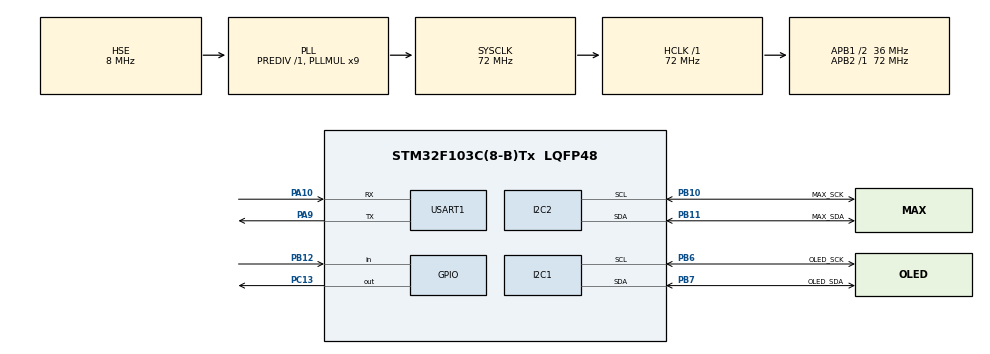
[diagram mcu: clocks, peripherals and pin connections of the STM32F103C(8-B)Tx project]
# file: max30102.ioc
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I2C1.DutyCycle=I2C_DUTYCYCLE_16_9
I2C1.I2C_Mode=I2C_Fast
I2C2.DutyCycle=I2C_DUTYCYCLE_16_9
I2C2.I2C_Mode=I2C_Fast
Mcu.Family=STM32F1
Mcu.Name=STM32F103C(8-B)Tx
Mcu.Package=LQFP48
NVIC.I2C1_EV_IRQn=true\:1\:0\:true\:true\:true\:1\:true\:true\:true
NVIC.PriorityGroup=NVIC_PRIORITYGROUP_4
PA0-WKUP.Mode=SYS_WakeUp0
PA0-WKUP.Signal=SYS_WKUP
PA10.Mode=Asynchronous
PA10.Signal=USART1_RX
PA13.Mode=Serial_Wire
PA13.Signal=SYS_JTMS-SWDIO
PA14.Mode=Serial_Wire
PA14.Signal=SYS_JTCK-SWCLK
PA9.Mode=Asynchronous
PA9.Signal=USART1_TX
PB10.GPIO_Label=MAX_SCK
PB10.GPIO_Pu=GPIO_PULLUP
PB10.Mode=I2C
PB10.Signal=I2C2_SCL
PB11.GPIO_Label=MAX_SDA
PB11.GPIO_Pu=GPIO_PULLUP
PB11.Mode=I2C
PB11.Signal=I2C2_SDA
PB12.GPIO_PuPd=GPIO_PULLUP
PB12.Signal=GPIO_Input
PB6.GPIO_Label=OLED_SCK
PB6.GPIO_Pu=GPIO_PULLUP
PB6.Mode=I2C
PB6.Signal=I2C1_SCL
PB7.GPIO_Label=OLED_SDA
PB7.GPIO_Pu=GPIO_PULLUP
PB7.Mode=I2C
PB7.Signal=I2C1_SDA
PC13-TAMPER-RTC.GPIO_ModeDefaultOutputPP=GPIO_MODE_OUTPUT_PP
PC13-TAMPER-RTC.GPIO_Speed=GPIO_SPEED_FREQ_HIGH
PC13-TAMPER-RTC.PinState=GPIO_PIN_SET
PC13-TAMPER-RTC.Signal=GPIO_Output
PC14-OSC32_IN.Mode=LSE-External-Oscillator
PC14-OSC32_IN.Signal=RCC_OSC32_IN
PC15-OSC32_OUT.Mode=LSE-External-Oscillator
PC15-OSC32_OUT.Signal=RCC_OSC32_OUT
PD0-OSC_IN.Mode=HSE-External-Oscillator
PD0-OSC_IN.Signal=RCC_OSC_IN
PD1-OSC_OUT.Mode=HSE-External-Oscillator
PD1-OSC_OUT.Signal=RCC_OSC_OUT
ProjectManager.HeapSize=0x200
ProjectManager.StackSize=0x400
ProjectManager.TargetToolchain=MDK-ARM V5.32
RCC.AHBFreq_Value=72000000
RCC.APB1CLKDivider=RCC_HCLK_DIV2
RCC.APB1Freq_Value=36000000
RCC.APB1TimFreq_Value=72000000
RCC.APB2Freq_Value=72000000
RCC.APB2TimFreq_Value=72000000
RCC.HCLKFreq_Value=72000000
RCC.PLLMUL=RCC_PLL_MUL9
RCC.PLLSourceVirtual=RCC_PLLSOURCE_HSE
RCC.SYSCLKFreq_VALUE=72000000
RCC.SYSCLKSource=RCC_SYSCLKSOURCE_PLLCLK
RCC.USBFreq_Value=72000000
USART1.VirtualMode=VM_ASYNC
board=max30102

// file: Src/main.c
/* USER CODE BEGIN Header */
/**
  ******************************************************************************
  * @file           : main.c
  * @brief          : Main program body
  ******************************************************************************
  * @attention
  *
  * Copyright (c) 2023 STMicroelectronics.
  * All rights reserved.
  *
  * This software is licensed under terms that can be found in the LICENSE file
  * in the root directory of this software component.
  * If no LICENSE file comes with this software, it is provided AS-IS.
  *
  ******************************************************************************
  */
/* USER CODE END Header */
#include "main.h"

/* USER CODE BEGIN Includes */
#include "oled.h"
#include "max30102.h"
/* USER CODE END Includes */

I2C_HandleTypeDef hi2c1;
I2C_HandleTypeDef hi2c2;

UART_HandleTypeDef huart1;

/* USER CODE BEGIN PV */
/* Private variables ---------------------------------------------------------*/

/* USER CODE END PV */

void SystemClock_Config(void);
static void MX_GPIO_Init(void);
static void MX_I2C1_Init(void);
static void MX_I2C2_Init(void);
static void MX_USART1_UART_Init(void);
static void MX_NVIC_Init(void);
/* USER CODE BEGIN PFP */
/* Private function prototypes -----------------------------------------------*/

/* USER CODE END PFP */

/* USER CODE BEGIN 0 */
void shutdown()
{
    OLED_Display_Off();
    max30102_OFF();
    HAL_Delay(100);
    /* Disable all used wakeup sources: PWR_WAKEUP_PIN1 */
    HAL_PWR_DisableWakeUpPin(PWR_WAKEUP_PIN1);
    /* Clear all related wakeup flags*/
    __HAL_PWR_CLEAR_FLAG(PWR_FLAG_WU);
    /* Enable WakeUp Pin PWR_WAKEUP_PIN1 connected to PA.00 */
    HAL_PWR_EnableWakeUpPin(PWR_WAKEUP_PIN1);
    /* Enter the Standby mode */
    HAL_PWR_EnterSTANDBYMode();
}
/* USER CODE END 0 */

int main(void)
{

  /* MCU Configuration--------------------------------------------------------*/

  /* Reset of all peripherals, Initializes the Flash interface and the Systick. */
  HAL_Init();

  /* Configure the system clock */
  SystemClock_Config();

  /* USER CODE BEGIN SysInit */

//    // 允许省电模式
//    /* Enable Power Control clock */
//    __HAL_RCC_PWR_CLK_ENABLE();
//    // 从省电模式醒来
//    /* Check and handle if the system was resumed from Standby mode */
//    if (__HAL_PWR_GET_FLAG(PWR_FLAG_SB) != RESET)
//    {
//        /* Clear Standby flag */
//        __HAL_PWR_CLEAR_FLAG(PWR_FLAG_SB);
//    }
//    while (HAL_GPIO_ReadPin(GPIOA, GPIO_PIN_0) == GPIO_PIN_SET)
//        ;

  /* USER CODE END SysInit */

  /* Initialize all configured peripherals */
  MX_GPIO_Init();
  MX_I2C1_Init();
  MX_I2C2_Init();
  MX_USART1_UART_Init();

  /* Initialize interrupts */
  MX_NVIC_Init();
  /* USER CODE BEGIN 2 */
    HAL_Delay(200);
    OLED_Init();
    max30102_init();

  /* USER CODE END 2 */

  /* Infinite loop */
    while (1)
    {

    /* USER CODE BEGIN 3 */
        if (HAL_GPIO_ReadPin(GPIOB, GPIO_PIN_12) == GPIO_PIN_RESET)
        {
            HAL_GPIO_TogglePin(GPIOC, GPIO_PIN_13);
            max30102_cal();

            uint8_t spo2 = max30102_getSpO2();
            uint8_t heartReat = max30102_getHeartRate();
            // 显示心率
            if (heartReat % 1000 / 100 > 0)
                OLED_showNum(0, heartReat % 1000 / 100);
            else
                OLED_showNum(0, 10);
            OLED_showNum(1, heartReat % 100 / 10);
            OLED_showNum(2, heartReat % 10);
            // 显示血氧
            if (spo2 % 1000 / 100 > 0)
                OLED_showNum(3, spo2 % 1000 / 100);
            else
                OLED_showNum(3, 10);
            OLED_showNum(4, spo2 % 100 / 10);
            OLED_showNum(5, spo2 % 10);
            // 画图表
            int16_t diff = max30102_getDiff();
            OLED_drawChart(diff);
            if (diff > 50)
                OLED_showHeart(0);
            else
                OLED_showHeart(1);
            // 省电模式
            if (HAL_GPIO_ReadPin(GPIOA, GPIO_PIN_0) == GPIO_PIN_SET)
            {
                while (HAL_GPIO_ReadPin(GPIOA, GPIO_PIN_0) == GPIO_PIN_SET)
                    ;
                shutdown();
            }
        }
    }
  /* USER CODE END 3 */
}

void SystemClock_Config(void)
{
  RCC_OscInitTypeDef RCC_OscInitStruct = {0};
  RCC_ClkInitTypeDef RCC_ClkInitStruct = {0};

  /** Initializes the RCC Oscillators according to the specified parameters
  * in the RCC_OscInitTypeDef structure.
  */
  RCC_OscInitStruct.OscillatorType = RCC_OSCILLATORTYPE_HSE;
  RCC_OscInitStruct.HSEState = RCC_HSE_ON;
  RCC_OscInitStruct.HSEPredivValue = RCC_HSE_PREDIV_DIV1;
  RCC_OscInitStruct.HSIState = RCC_HSI_ON;
  RCC_OscInitStruct.PLL.PLLState = RCC_PLL_ON;
  RCC_OscInitStruct.PLL.PLLSource = RCC_PLLSOURCE_HSE;
  RCC_OscInitStruct.PLL.PLLMUL = RCC_PLL_MUL9;
  if (HAL_RCC_OscConfig(&RCC_OscInitStruct) != HAL_OK)
  {
    Error_Handler();
  }

  /** Initializes the CPU, AHB and APB buses clocks
  */
  RCC_ClkInitStruct.ClockType = RCC_CLOCKTYPE_HCLK|RCC_CLOCKTYPE_SYSCLK
                              |RCC_CLOCKTYPE_PCLK1|RCC_CLOCKTYPE_PCLK2;
  RCC_ClkInitStruct.SYSCLKSource = RCC_SYSCLKSOURCE_PLLCLK;
  RCC_ClkInitStruct.AHBCLKDivider = RCC_SYSCLK_DIV1;
  RCC_ClkInitStruct.APB1CLKDivider = RCC_HCLK_DIV2;
  RCC_ClkInitStruct.APB2CLKDivider = RCC_HCLK_DIV1;

  if (HAL_RCC_ClockConfig(&RCC_ClkInitStruct, FLASH_LATENCY_2) != HAL_OK)
  {
    Error_Handler();
  }
}

/**
  * @brief NVIC Configuration.
  * @retval None
  */
static void MX_NVIC_Init(void)
{
  /* I2C1_EV_IRQn interrupt configuration */
  HAL_NVIC_SetPriority(I2C1_EV_IRQn, 1, 0);
  HAL_NVIC_EnableIRQ(I2C1_EV_IRQn);
}

static void MX_I2C1_Init(void)
{

  hi2c1.Instance = I2C1;
  hi2c1.Init.ClockSpeed = 400000;
  hi2c1.Init.DutyCycle = I2C_DUTYCYCLE_16_9;
  hi2c1.Init.OwnAddress1 = 0;
  hi2c1.Init.AddressingMode = I2C_ADDRESSINGMODE_7BIT;
  hi2c1.Init.DualAddressMode = I2C_DUALADDRESS_DISABLE;
  hi2c1.Init.OwnAddress2 = 0;
  hi2c1.Init.GeneralCallMode = I2C_GENERALCALL_DISABLE;
  hi2c1.Init.NoStretchMode = I2C_NOSTRETCH_DISABLE;
  if (HAL_I2C_Init(&hi2c1) != HAL_OK)
  {
    Error_Handler();
  }

}

static void MX_I2C2_Init(void)
{

  hi2c2.Instance = I2C2;
  hi2c2.Init.ClockSpeed = 400000;
  hi2c2.Init.DutyCycle = I2C_DUTYCYCLE_16_9;
  hi2c2.Init.OwnAddress1 = 0;
  hi2c2.Init.AddressingMode = I2C_ADDRESSINGMODE_7BIT;
  hi2c2.Init.DualAddressMode = I2C_DUALADDRESS_DISABLE;
  hi2c2.Init.OwnAddress2 = 0;
  hi2c2.Init.GeneralCallMode = I2C_GENERALCALL_DISABLE;
  hi2c2.Init.NoStretchMode = I2C_NOSTRETCH_DISABLE;
  if (HAL_I2C_Init(&hi2c2) != HAL_OK)
  {
    Error_Handler();
  }

}

static void MX_USART1_UART_Init(void)
{

  huart1.Instance = USART1;
  huart1.Init.BaudRate = 115200;
  huart1.Init.WordLength = UART_WORDLENGTH_8B;
  huart1.Init.StopBits = UART_STOPBITS_1;
  huart1.Init.Parity = UART_PARITY_NONE;
  huart1.Init.Mode = UART_MODE_TX_RX;
  huart1.Init.HwFlowCtl = UART_HWCONTROL_NONE;
  huart1.Init.OverSampling = UART_OVERSAMPLING_16;
  if (HAL_UART_Init(&huart1) != HAL_OK)
  {
    Error_Handler();
  }

}

static void MX_GPIO_Init(void)
{
  GPIO_InitTypeDef GPIO_InitStruct = {0};

  /* GPIO Ports Clock Enable */
  __HAL_RCC_GPIOC_CLK_ENABLE();
  __HAL_RCC_GPIOD_CLK_ENABLE();
  __HAL_RCC_GPIOA_CLK_ENABLE();
  __HAL_RCC_GPIOB_CLK_ENABLE();

  /*Configure GPIO pin Output Level */
  HAL_GPIO_WritePin(GPIOC, GPIO_PIN_13, GPIO_PIN_SET);

  /*Configure GPIO pin : PC13 */
  GPIO_InitStruct.Pin = GPIO_PIN_13;
  GPIO_InitStruct.Mode = GPIO_MODE_OUTPUT_PP;
  GPIO_InitStruct.Pull = GPIO_NOPULL;
  GPIO_InitStruct.Speed = GPIO_SPEED_FREQ_HIGH;
  HAL_GPIO_Init(GPIOC, &GPIO_InitStruct);

  /*Configure GPIO pin : PB12 */
  GPIO_InitStruct.Pin = GPIO_PIN_12;
  GPIO_InitStruct.Mode = GPIO_MODE_INPUT;
  GPIO_InitStruct.Pull = GPIO_PULLUP;
  HAL_GPIO_Init(GPIOB, &GPIO_InitStruct);

}

void Error_Handler(void)
{
    while (1)
    {
    }
}
